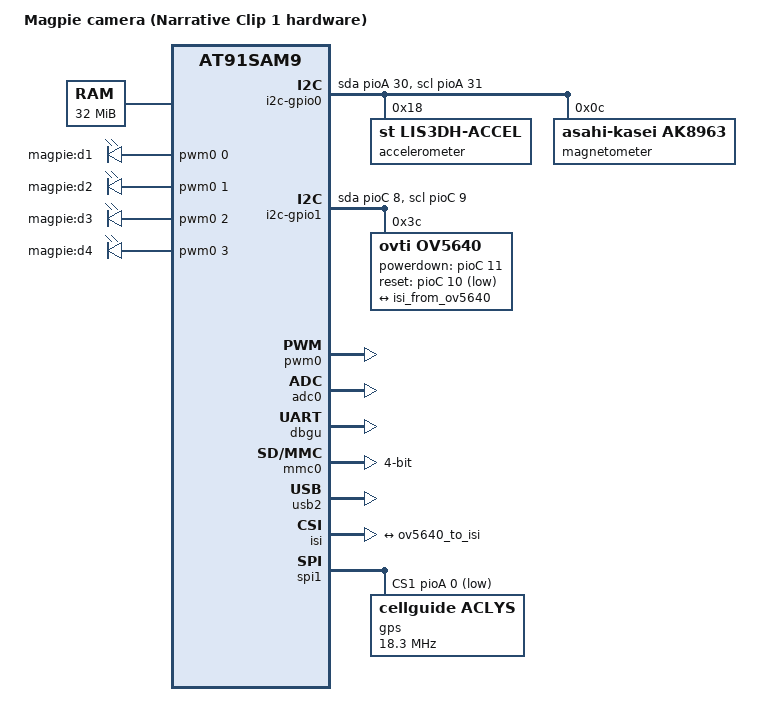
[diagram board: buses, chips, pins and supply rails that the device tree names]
// SPDX-License-Identifier: GPL-2.0+
/*
 * Narrative Clip 1 (AT91SAM9G25), mainline Linux.
 * Booted by the stock U-Boot with an appended DTB; U-Boot's ATAGs are ignored.
 */
/dts-v1/;
#include "microchip/at91sam9g25.dtsi"
#include "microchip/at91sam9x5_isi.dtsi"
#include <dt-bindings/gpio/gpio.h>

/ {
	model = "Magpie camera (Narrative Clip 1 hardware)";
	compatible = "magpie,cam1", "atmel,at91sam9g25", "atmel,at91sam9x5", "atmel,at91sam9";

	chosen {
		stdout-path = "serial0:115200n8";
	};

	/* The dtsi has no spi aliases; without this the SPI core numbers the bus dynamically (0). */
	aliases {
		spi1 = &spi1;
	};

	/* 32 MB LPSDR */
	memory@20000000 {
		device_type = "memory";
		reg = <0x20000000 0x2000000>;
	};

	reserved-memory {
		#address-cells = <1>;
		#size-cells = <1>;
		ranges;

		/* Untouched by the stock U-Boot (loads at 0x20100000, 0x21800000+) */
		ramoops@21000000 {
			compatible = "ramoops";
			reg = <0x21000000 0x80000>;
			no-map;
			console-size = <0x40000>;
			record-size = <0x4000>;
			ftrace-size = <0>;
			pmsg-size = <0>;
		};

		/*
		 * First RAM page, kept out of the kernel's use: at91bootstrap's SDRAM init
		 * writes to 0x20000048 on every boot, including a warm wake, and the
		 * fast-resume entry (0x2BEDF00D word + stub) lives here.
		 */
		fastresume@20000000 {
			reg = <0x20000000 0x1000>;
			no-map;
		};
	};

	/* LEDs d1-d4: PWM0-3 on PC18-PC21, active-low (stock gpio_led table) */
	pwm-leds {
		compatible = "pwm-leds";

		led-d1 {
			label = "magpie:d1";
			pwms = <&pwm0 0 1000000 0>;
			max-brightness = <255>;
			active-low;
		};

		led-d2 {
			label = "magpie:d2";
			pwms = <&pwm0 1 1000000 0>;
			max-brightness = <255>;
			active-low;
		};

		led-d3 {
			label = "magpie:d3";
			pwms = <&pwm0 2 1000000 0>;
			max-brightness = <255>;
			active-low;
		};

		led-d4 {
			label = "magpie:d4";
			pwms = <&pwm0 3 1000000 0>;
			max-brightness = <255>;
			active-low;
		};
	};

	/* Bit-banged I2C: SDA = PA30, SCL = PA31. Sensor IRQ lines unknown (polling). */
	i2c-gpio0 {
		compatible = "i2c-gpio";
		#address-cells = <1>;
		#size-cells = <0>;
		pinctrl-names = "default";
		pinctrl-0 = <&pinctrl_magpie_i2c_gpio>;
		sda-gpios = <&pioA 30 (GPIO_ACTIVE_HIGH | GPIO_OPEN_DRAIN)>;
		scl-gpios = <&pioA 31 (GPIO_ACTIVE_HIGH | GPIO_OPEN_DRAIN)>;
		i2c-gpio,delay-us = <5>;

		accelerometer@18 {
			compatible = "st,lis3dh-accel";
			reg = <0x18>;
		};

		magnetometer@c {
			compatible = "asahi-kasei,ak8963";
			reg = <0x0c>;
		};
	};

	/*
	 * Camera sensor (OV5640, chip ID 0x5640) control bus: bit-banged SCCB on
	 * SDA = PC8, SCL = PC9 (stock mmt_vid.ko does the same; the pull-ups are on in the PIO).
	 * PC8-PC11 are ISI_D8-D11 on the chip but are used as GPIOs here, so only the
	 * 8-bit ISI data pins (pinctrl_isi_data_0_7) are muxed to the ISI.
	 */
	i2c-gpio1 {
		compatible = "i2c-gpio";
		#address-cells = <1>;
		#size-cells = <0>;
		pinctrl-names = "default";
		pinctrl-0 = <&pinctrl_magpie_sccb>;
		sda-gpios = <&pioC 8 (GPIO_ACTIVE_HIGH | GPIO_OPEN_DRAIN)>;
		scl-gpios = <&pioC 9 (GPIO_ACTIVE_HIGH | GPIO_OPEN_DRAIN)>;
		i2c-gpio,delay-us = <5>;

		/*
		 * No regulators on this board (supplies are fixed rails), and the
		 * kernel has CONFIG_REGULATOR off, so the driver's supply lookups are stubs.
		 * XCLK = PCK0 on PC15 (periph C). Stock runs it from MCK/8 (about 15.9 MHz);
		 * the programmable clock only divides by powers of two, so ask prog0 for
		 * "at most 16 MHz" (the ov5640 driver accepts 6-54 MHz).
		 * PWDN = PC11 (high = powered down), RESET = PC10 (low = reset).
		 */
		ov5640: ov5640@3c {
			compatible = "ovti,ov5640";
			reg = <0x3c>;
			pinctrl-names = "default";
			pinctrl-0 = <&pinctrl_magpie_cam_xclk &pinctrl_magpie_cam_ctl>;
			clocks = <&pmc PMC_TYPE_SYSTEM 8>;
			clock-names = "xclk";
			assigned-clocks = <&pmc PMC_TYPE_PROGRAMMABLE 0>;
			assigned-clock-parents = <&pmc PMC_TYPE_CORE PMC_MCK>;
			assigned-clock-rates = <16000000>;
			powerdown-gpios = <&pioC 11 GPIO_ACTIVE_HIGH>;
			reset-gpios = <&pioC 10 GPIO_ACTIVE_LOW>;

			port {
				/*
				 * Polarities as the stock driver programs them: sensor reg 0x4740 = 0x21
				 * (PCLK sample rising = bit5, VSYNC active low = bit0, HREF bit1 = 0),
				 * ISI_CFG1 = 0x808 (VSYNC active low, HSYNC active high, PCLK rising).
				 * hsync-active differs from the ISI endpoint on purpose (see docs/KERNEL.md, Camera).
				 * Sensor D9:D2 go to ISI D7:D0.
				 */
				ov5640_to_isi: endpoint {
					remote-endpoint = <&isi_from_ov5640>;
					bus-width = <8>;
					data-shift = <2>;
					hsync-active = <0>;
					vsync-active = <0>;
					pclk-sample = <1>;
				};
			};
		};
	};

	clocks {
		slow_xtal {
			clock-frequency = <32768>;
		};

		main_xtal {
			clock-frequency = <12000000>;
		};
	};

	ahb {
		apb {
			/* Clocksource/clockevent (the PIT driver is not built) */
			tcb0: timer@f8008000 {
				timer@0 {
					compatible = "atmel,tcb-timer";
					reg = <0>;
				};

				timer@1 {
					compatible = "atmel,tcb-timer";
					reg = <1>;
				};
			};

			/* PB14 (battery divider enable) and PD15 (nCHRG) stay plain GPIOs for userspace. */
			pinctrl@fffff400 {
				magpie {
					pinctrl_magpie_pwm: magpie_pwm {
						atmel,pins =
							<AT91_PIOC 18 AT91_PERIPH_C AT91_PINCTRL_NONE
							 AT91_PIOC 19 AT91_PERIPH_C AT91_PINCTRL_NONE
							 AT91_PIOC 20 AT91_PERIPH_C AT91_PINCTRL_NONE
							 AT91_PIOC 21 AT91_PERIPH_C AT91_PINCTRL_NONE>;
					};

					pinctrl_magpie_i2c_gpio: magpie_i2c_gpio {
						atmel,pins =
							<AT91_PIOA 30 AT91_PERIPH_GPIO AT91_PINCTRL_MULTI_DRIVE
							 AT91_PIOA 31 AT91_PERIPH_GPIO AT91_PINCTRL_MULTI_DRIVE>;
					};

					/* SCCB to the camera sensor, open-drain with pull-ups */
					pinctrl_magpie_sccb: magpie_sccb {
						atmel,pins =
							<AT91_PIOC 8 AT91_PERIPH_GPIO (AT91_PINCTRL_PULL_UP | AT91_PINCTRL_MULTI_DRIVE)
							 AT91_PIOC 9 AT91_PERIPH_GPIO (AT91_PINCTRL_PULL_UP | AT91_PINCTRL_MULTI_DRIVE)>;
					};

					/* Sensor XCLK: PCK0 on PC15 (peripheral C) */
					pinctrl_magpie_cam_xclk: magpie_cam_xclk {
						atmel,pins =
							<AT91_PIOC 15 AT91_PERIPH_C AT91_PINCTRL_NONE>;
					};

					/* Sensor RESET (PC10) and PWDN (PC11) as plain GPIOs */
					pinctrl_magpie_cam_ctl: magpie_cam_ctl {
						atmel,pins =
							<AT91_PIOC 10 AT91_PERIPH_GPIO AT91_PINCTRL_NONE
							 AT91_PIOC 11 AT91_PERIPH_GPIO AT91_PINCTRL_NONE>;
					};

					/*
					 * CellGuide ACLYS GPS control lines (stock aclys_gpio module):
					 * PA1 = DATA READY, input, active low, glitch filter on (stock used
					 * deglitch + falling-edge IRQ, one pulse per 4096-byte page),
					 * PA6 = RESET (stock pulses 1-0-1), PA28 = LNA enable.
					 * All plain GPIOs for userspace (gpsnap uses the GPIO character device).
					 * PA0, the chip select, is claimed by the SPI core through cs-gpios.
					 */
					pinctrl_magpie_gps: magpie_gps {
						atmel,pins =
							<AT91_PIOA 1 AT91_PERIPH_GPIO AT91_PINCTRL_DEGLITCH
							 AT91_PIOA 6 AT91_PERIPH_GPIO AT91_PINCTRL_NONE
							 AT91_PIOA 28 AT91_PERIPH_GPIO AT91_PINCTRL_NONE>;
					};

					/* AD5 (PB16) resets as a GPIO input with pull-up, which would
					 * skew the battery reading: plain input without pull. */
					pinctrl_magpie_adc: magpie_adc {
						atmel,pins =
							<AT91_PIOB 16 AT91_PERIPH_GPIO AT91_PINCTRL_NONE>;
					};
				};
			};

			pwm0: pwm@f8034000 {
				pinctrl-names = "default";
				pinctrl-0 = <&pinctrl_magpie_pwm>;
				status = "okay";
			};

			/* Battery on AD5 only (mask 0x20); 3.3 V reference */
			adc0: adc@f804c000 {
				atmel,adc-channels-used = <0x20>;
				pinctrl-names = "default";
				pinctrl-0 = <&pinctrl_magpie_adc>;
				status = "okay";
			};

			dbgu: serial@fffff200 {
				status = "okay";
			};

			/* eMMC. 4 data lines (PA15-PA20), no card-detect pin. */
			mmc0: mmc@f0008000 {
				pinctrl-0 = <
					&pinctrl_mmc0_slot0_clk_cmd_dat0
					&pinctrl_mmc0_slot0_dat1_3>;
				bus-width = <4>;
				status = "okay";
				slot@0 {
					reg = <0>;
					bus-width = <4>;
					non-removable;
				};
			};

			/* UDPHS device port; no VBUS sense pin used. */
			usb2: gadget@f803c000 {
				status = "okay";
			};

			/* Already enabled by at91bootstrap; kernel keeps pinging it. */
			watchdog@fffffe40 {
				status = "okay";
			};

			rtc@fffffeb0 {
				status = "okay";
			};
		};
	};
};

/* 8-bit parallel camera input from the OV5640 (see the ov5640 node) */
&isi {
	status = "okay";

	port {
		isi_from_ov5640: endpoint@0 {
			reg = <0>;
			remote-endpoint = <&ov5640_to_isi>;
			bus-width = <8>;
			hsync-active = <1>;
			vsync-active = <0>;
			pclk-sample = <1>;
		};
	};
};

/*
 * GPS: CellGuide ACLYS on SPI1 (MISO PA21, MOSI PA22, SPCK PA23, peripheral B).
 * Chip select is PA0 driven as a GPIO (active low); the first entry is a placeholder
 * for native NPCS0, so the chip is chip select 1 = /dev/spidev1.1 like on the stock
 * firmware. The stock board table: bus 1, cs 1, 18.3 MHz max, mode 2 (CPOL=1, CPHA=0),
 * 8 bits, MSB first.
 * No driver exists for the chip. The node only describes the hardware; the S14gps init
 * script binds the generic spidev driver to it via driver_override (spidev refuses a
 * plain "spidev" compatible in DT, but binds anything through driver_override).
 */
&spi1 {
	cs-gpios = <0>, <&pioA 0 GPIO_ACTIVE_LOW>;
	pinctrl-0 = <&pinctrl_spi1 &pinctrl_magpie_gps>;
	status = "okay";

	gps@1 {
		compatible = "cellguide,aclys";
		reg = <1>;
		spi-max-frequency = <18300000>;
		spi-cpol;
	};
};

/*
 * Power-off wake sources, as the stock firmware set them (SHDW_MR 0x00020002):
 * WKUP0 on a falling edge (the accelerometer's tap interrupt, INT1) and the RTC
 * alarm. Mainline's "low" is WKMODE0 = 2, which the SAM9G25 datasheet defines as
 * FALLING_EDGE, so this is exactly the stock setting.
 */
&shutdown_controller {
	atmel,wakeup-mode = "low";
	atmel,wakeup-rtc-timer;
};
